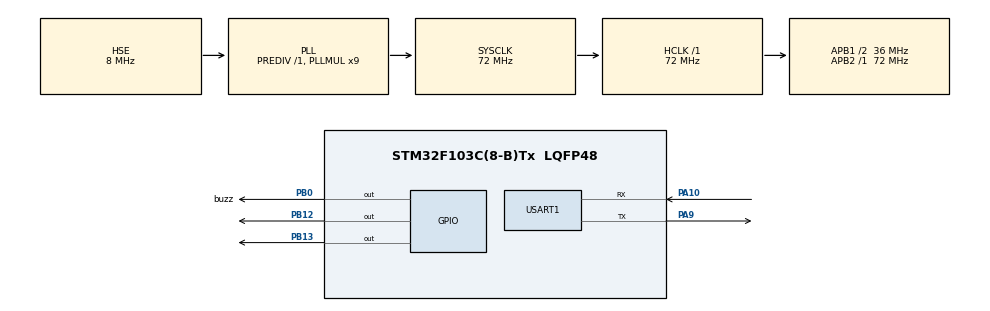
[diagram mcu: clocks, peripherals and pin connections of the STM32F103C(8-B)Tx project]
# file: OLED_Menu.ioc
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Mcu.Family=STM32F1
Mcu.Name=STM32F103C(8-B)Tx
Mcu.Package=LQFP48
NVIC.PriorityGroup=NVIC_PRIORITYGROUP_4
NVIC.RTC_IRQn=true\:0\:0\:false\:false\:true\:true\:true\:true
NVIC.TIM1_UP_IRQn=true\:0\:0\:false\:false\:true\:true\:true\:true
NVIC.TIM2_IRQn=true\:3\:0\:true\:false\:true\:true\:true\:true
NVIC.TIM3_IRQn=true\:0\:0\:false\:false\:true\:true\:true\:true
NVIC.TIM4_IRQn=true\:0\:0\:false\:false\:true\:true\:true\:true
PA10.Mode=Asynchronous
PA10.Signal=USART1_RX
PA13.Mode=Serial_Wire
PA13.Signal=SYS_JTMS-SWDIO
PA14.Mode=Serial_Wire
PA14.Signal=SYS_JTCK-SWCLK
PA9.Mode=Asynchronous
PA9.Signal=USART1_TX
PB0.GPIO_Label=buzz
PB0.GPIO_Speed=GPIO_SPEED_FREQ_LOW
PB0.Signal=GPIO_Output
PB12.Signal=GPIO_Output
PB13.Signal=GPIO_Output
PC14-OSC32_IN.Mode=LSE-External-Oscillator
PC14-OSC32_IN.Signal=RCC_OSC32_IN
PC15-OSC32_OUT.Mode=LSE-External-Oscillator
PC15-OSC32_OUT.Signal=RCC_OSC32_OUT
PD0-OSC_IN.Mode=HSE-External-Oscillator
PD0-OSC_IN.Signal=RCC_OSC_IN
PD1-OSC_OUT.Mode=HSE-External-Oscillator
PD1-OSC_OUT.Signal=RCC_OSC_OUT
ProjectManager.HeapSize=0x200
ProjectManager.StackSize=0x400
ProjectManager.TargetToolchain=MDK-ARM V5.32
RCC.AHBFreq_Value=72000000
RCC.APB1CLKDivider=RCC_HCLK_DIV2
RCC.APB1Freq_Value=36000000
RCC.APB1TimFreq_Value=72000000
RCC.APB2Freq_Value=72000000
RCC.APB2TimFreq_Value=72000000
RCC.EnbaleCSS=true
RCC.HCLKFreq_Value=72000000
RCC.PLLMUL=RCC_PLL_MUL9
RCC.PLLSourceVirtual=RCC_PLLSOURCE_HSE
RCC.RTCClockSelection=RCC_RTCCLKSOURCE_LSE
RCC.SYSCLKFreq_VALUE=72000000
RCC.SYSCLKSource=RCC_SYSCLKSOURCE_PLLCLK
RCC.USBFreq_Value=72000000
RTC.Date=13
RTC.Hours=10
RTC.Minutes=27
RTC.Month=RTC_MONTH_FEBRUARY
RTC.Seconds=33
RTC.WeekDay=RTC_WEEKDAY_FRIDAY
RTC.Year=25
TIM1.Period=10000
TIM1.Prescaler=7199
TIM2.Period=999
TIM2.Prescaler=99
TIM3.Period=10000
TIM3.Prescaler=7199
TIM4.Period=10000
TIM4.Prescaler=7199
USART1.VirtualMode=VM_ASYNC
VP_RTC_VS_RTC_Activate.Mode=RTC_Enabled
VP_RTC_VS_RTC_Calendar.Mode=RTC_Calendar
VP_TIM1_VS_ClockSourceINT.Mode=Internal
VP_TIM2_VS_ClockSourceINT.Mode=Internal
VP_TIM3_VS_ClockSourceINT.Mode=Internal
VP_TIM4_VS_ClockSourceINT.Mode=Internal
board=custom

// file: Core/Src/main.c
/* USER CODE BEGIN Header */
/**
  ******************************************************************************
  * @file           : main.c
  * @brief          : Main program body
  ******************************************************************************
  * @attention
  *
  * Copyright (c) 2025 STMicroelectronics.
  * All rights reserved.
  *
  * This software is licensed under terms that can be found in the LICENSE file
  * in the root directory of this software component.
  * If no LICENSE file comes with this software, it is provided AS-IS.
  *
  ******************************************************************************
  */
/* USER CODE END Header */
#include "main.h"
#include "rtc.h"
#include "tim.h"
#include "usart.h"
#include "gpio.h"

/* USER CODE BEGIN Includes */
#include "OLED.h"
#include "Key.h"
#include "Delay.h"
#include "Menu.h"

/* USER CODE END Includes */

void SystemClock_Config(void);

int main(void)
{

  /* MCU Configuration--------------------------------------------------------*/

  /* Reset of all peripherals, Initializes the Flash interface and the Systick. */
  HAL_Init();

  /* Configure the system clock */
  SystemClock_Config();

  /* Initialize all configured peripherals */
  MX_GPIO_Init();
  MX_TIM2_Init();
  MX_RTC_Init();
  MX_TIM1_Init();
  MX_TIM3_Init();
  MX_TIM4_Init();
  MX_USART1_UART_Init();
  /* USER CODE BEGIN 2 */
	OLED_Init();
	Key_Init();
	HAL_TIM_Base_Start_IT(&htim2);//work for key,don't close
                                                                                                                                                                                           /* USER CODE END 2 */

  /* Infinite loop */
  /* USER CODE BEGIN WHILE */

	uint16_t Menu1_ret;
  while (1)
  {
		Menu1_ret=Menu1();
			if(Menu1_ret==1)
			{
				Menu2_Timer();
			}
			else if(Menu1_ret==2)
			{
				Menu2_Clock();
			}
			else if(Menu1_ret==3)

			{
				Menu2_Setting();
			}

    /* USER CODE END WHILE */

  }
}

void SystemClock_Config(void)
{
  RCC_OscInitTypeDef RCC_OscInitStruct = {0};
  RCC_ClkInitTypeDef RCC_ClkInitStruct = {0};
  RCC_PeriphCLKInitTypeDef PeriphClkInit = {0};

  /** Initializes the RCC Oscillators according to the specified parameters
  * in the RCC_OscInitTypeDef structure.
  */
  RCC_OscInitStruct.OscillatorType = RCC_OSCILLATORTYPE_HSE|RCC_OSCILLATORTYPE_LSE;
  RCC_OscInitStruct.HSEState = RCC_HSE_ON;
  RCC_OscInitStruct.HSEPredivValue = RCC_HSE_PREDIV_DIV1;
  RCC_OscInitStruct.LSEState = RCC_LSE_ON;
  RCC_OscInitStruct.HSIState = RCC_HSI_ON;
  RCC_OscInitStruct.PLL.PLLState = RCC_PLL_ON;
  RCC_OscInitStruct.PLL.PLLSource = RCC_PLLSOURCE_HSE;
  RCC_OscInitStruct.PLL.PLLMUL = RCC_PLL_MUL9;
  if (HAL_RCC_OscConfig(&RCC_OscInitStruct) != HAL_OK)
  {
    Error_Handler();
  }

  /** Initializes the CPU, AHB and APB buses clocks
  */
  RCC_ClkInitStruct.ClockType = RCC_CLOCKTYPE_HCLK|RCC_CLOCKTYPE_SYSCLK
                              |RCC_CLOCKTYPE_PCLK1|RCC_CLOCKTYPE_PCLK2;
  RCC_ClkInitStruct.SYSCLKSource = RCC_SYSCLKSOURCE_PLLCLK;
  RCC_ClkInitStruct.AHBCLKDivider = RCC_SYSCLK_DIV1;
  RCC_ClkInitStruct.APB1CLKDivider = RCC_HCLK_DIV2;
  RCC_ClkInitStruct.APB2CLKDivider = RCC_HCLK_DIV1;

  if (HAL_RCC_ClockConfig(&RCC_ClkInitStruct, FLASH_LATENCY_2) != HAL_OK)
  {
    Error_Handler();
  }
  PeriphClkInit.PeriphClockSelection = RCC_PERIPHCLK_RTC;
  PeriphClkInit.RTCClockSelection = RCC_RTCCLKSOURCE_LSE;
  if (HAL_RCCEx_PeriphCLKConfig(&PeriphClkInit) != HAL_OK)
  {
    Error_Handler();
  }

  /** Enables the Clock Security System
  */
  HAL_RCC_EnableCSS();
}

void Error_Handler(void)
{
  __disable_irq();
  while (1)
  {
  }
}
